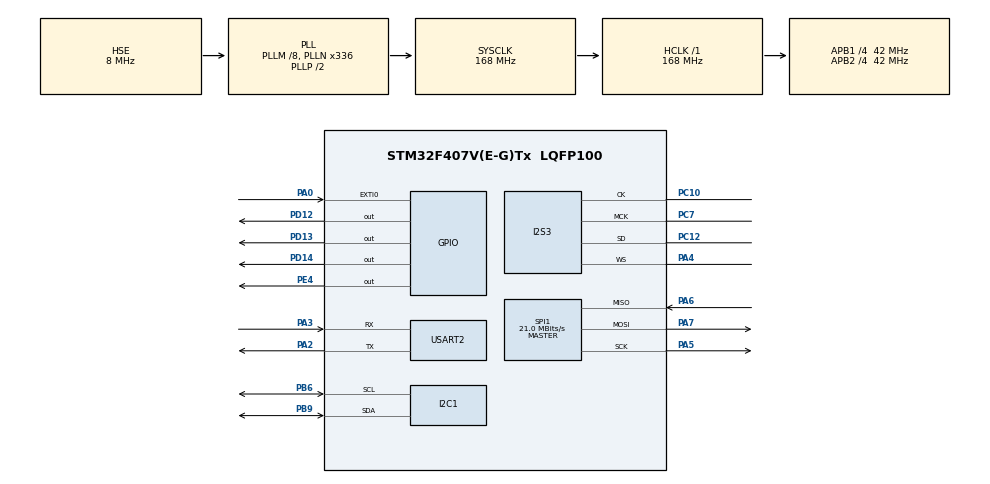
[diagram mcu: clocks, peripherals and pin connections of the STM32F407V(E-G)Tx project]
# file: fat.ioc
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Dma.Request0=SPI3_TX
Dma.SPI3_TX.0.Direction=DMA_MEMORY_TO_PERIPH
Dma.SPI3_TX.0.FIFOMode=DMA_FIFOMODE_ENABLE
Dma.SPI3_TX.0.FIFOThreshold=DMA_FIFO_THRESHOLD_FULL
Dma.SPI3_TX.0.Instance=DMA1_Stream5
Dma.SPI3_TX.0.MemBurst=DMA_MBURST_SINGLE
Dma.SPI3_TX.0.MemDataAlignment=DMA_MDATAALIGN_HALFWORD
Dma.SPI3_TX.0.MemInc=DMA_MINC_ENABLE
Dma.SPI3_TX.0.Mode=DMA_CIRCULAR
Dma.SPI3_TX.0.PeriphBurst=DMA_PBURST_SINGLE
Dma.SPI3_TX.0.PeriphDataAlignment=DMA_PDATAALIGN_HALFWORD
Dma.SPI3_TX.0.PeriphInc=DMA_PINC_DISABLE
Dma.SPI3_TX.0.Priority=DMA_PRIORITY_LOW
I2S3.AudioFreq=I2S_AUDIOFREQ_44K
I2S3.ErrorAudioFreq=0.24 %
I2S3.FullDuplexMode=I2S_FULLDUPLEXMODE_DISABLE
I2S3.Instance=SPI$Index
I2S3.RealAudioFreq=44.108 KHz
I2S3.VirtualMode=I2S_MODE_MASTER
Mcu.Family=STM32F4
Mcu.Name=STM32F407V(E-G)Tx
Mcu.Package=LQFP100
NVIC.DMA1_Stream5_IRQn=true\:0\:0\:false\:false\:true\:false\:true
NVIC.EXTI0_IRQn=true\:0\:0\:true\:false\:true\:true\:true
NVIC.PriorityGroup=NVIC_PRIORITYGROUP_4
NVIC.TIM6_DAC_IRQn=true\:0\:0\:true\:false\:true\:false\:true
NVIC.TimeBase=TIM6_DAC_IRQn
NVIC.TimeBaseIP=TIM6
PA0-WKUP.Signal=GPXTI0
PA2.Mode=Asynchronous
PA2.Signal=USART2_TX
PA3.Mode=Asynchronous
PA3.Signal=USART2_RX
PA4.Mode=Half_Duplex_Master
PA4.Signal=I2S3_WS
PA5.Mode=Full_Duplex_Master
PA5.Signal=SPI1_SCK
PA6.Mode=Full_Duplex_Master
PA6.Signal=SPI1_MISO
PA7.Mode=Full_Duplex_Master
PA7.Signal=SPI1_MOSI
PB6.Mode=I2C
PB6.Signal=I2C1_SCL
PB9.Mode=I2C
PB9.Signal=I2C1_SDA
PC10.Mode=Half_Duplex_Master
PC10.Signal=I2S3_CK
PC12.Mode=Half_Duplex_Master
PC12.Signal=I2S3_SD
PC7.Mode=Master_Clock_Activated
PC7.Signal=I2S3_MCK
PD12.Signal=GPIO_Output
PD13.Signal=GPIO_Output
PD14.Signal=GPIO_Output
PE4.Signal=GPIO_Output
PH0-OSC_IN.Mode=HSE-External-Oscillator
PH0-OSC_IN.Signal=RCC_OSC_IN
PH1-OSC_OUT.Mode=HSE-External-Oscillator
PH1-OSC_OUT.Signal=RCC_OSC_OUT
ProjectManager.HeapSize=0x200
ProjectManager.StackSize=0x400
ProjectManager.TargetToolchain=STM32CubeIDE
RCC.48MHZClocksFreq_Value=84000000
RCC.AHBFreq_Value=168000000
RCC.APB1CLKDivider=RCC_HCLK_DIV4
RCC.APB1Freq_Value=42000000
RCC.APB1TimFreq_Value=84000000
RCC.APB2CLKDivider=RCC_HCLK_DIV4
RCC.APB2Freq_Value=42000000
RCC.APB2TimFreq_Value=84000000
RCC.CortexFreq_Value=168000000
RCC.HCLKFreq_Value=168000000
RCC.HSE_VALUE=8000000
RCC.HSI_VALUE=16000000
RCC.LSE_VALUE=32768
RCC.PLLI2SN=271
RCC.PLLI2SR=6
RCC.PLLM=8
RCC.PLLN=336
RCC.PLLSourceVirtual=RCC_PLLSOURCE_HSE
RCC.SYSCLKFreq_VALUE=168000000
RCC.SYSCLKSource=RCC_SYSCLKSOURCE_PLLCLK
RCC.VCOOutputFreq_Value=336000000
SPI1.BaudRatePrescaler=SPI_BAUDRATEPRESCALER_2
SPI1.CalculateBaudRate=21.0 MBits/s
SPI1.Direction=SPI_DIRECTION_2LINES
SPI1.Mode=SPI_MODE_MASTER
SPI1.VirtualType=VM_MASTER
USART2.VirtualMode=VM_ASYNC
VP_SYS_VS_tim6.Mode=TIM6
board=custom

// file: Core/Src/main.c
/* USER CODE BEGIN Header */
/**
 ******************************************************************************
 * @file           : main.c
 * @brief          : Main program body
 ******************************************************************************
 * @attention
 *
 * <h2><center>&copy; Copyright (c) 2021 STMicroelectronics.
 * All rights reserved.</center></h2>
 *
 * This software component is licensed by ST under BSD 3-Clause license,
 * the "License"; You may not use this file except in compliance with the
 * License. You may obtain a copy of the License at:
 *                        opensource.org/licenses/BSD-3-Clause
 *
 ******************************************************************************
 */

#include "mmc_sd.h"
#include "fatfs.h"
#include "fops.h"

//#include "main.h"
#include "FreeRTOS.h"

#include "queue.h"
#include "semphr.h"
#include "task.h"
#include "printf.h"
#include "File_Handling.h"
#include "waveplayer.h"
/* USER CODE END Header */
#include "main.h"

/* USER CODE BEGIN Includes */
//#define RXBUFFERSIZE  256
//char RxBuffer[RXBUFFERSIZE];

/* USER CODE END Includes */

I2C_HandleTypeDef hi2c1;

I2S_HandleTypeDef hi2s3;
DMA_HandleTypeDef hdma_spi3_tx;

SPI_HandleTypeDef hspi1;

UART_HandleTypeDef huart2;

void SystemClock_Config(void);
static void MX_GPIO_Init(void);
static void MX_DMA_Init(void);
void MX_SPI1_Init(void);
static void MX_I2C1_Init(void);
static void MX_I2S3_Init(void);
static void MX_USART2_UART_Init(void);
/* USER CODE BEGIN PFP */
//extern ApplicationTypeDef Appli_state;
extern AUDIO_PLAYBACK_StateTypeDef AudioState;
SemaphoreHandle_t xSemaphore;
SemaphoreHandle_t xReadSemaphore;
SemaphoreHandle_t xWriteSemaphore;

uint8_t flag = pdTRUE;
uint8_t isFinished = 0;

/* USER CODE END PFP */

/* USER CODE BEGIN 0 */
//UART_HandleTypeDef UartHandle;
/* Private function prototypes -----------------------------------------------*/
void Task1(void *pvParameters);
void Task2(void *pvParameters);
void Task3(void *pvParameters);

void SD_RdWrTest(void) {
	int i = 0;
	static uint8_t bufr[SD_SECTOR_SIZE];
	static uint8_t bufw[SD_SECTOR_SIZE];

	for (i = 0; i < sizeof(bufw); i++) {
		bufr[i] = 0;
		bufw[i] = i % 0xFF;
	}

	SD_WriteDisk(bufw, 1, 1);
	SD_ReadDisk(bufr, 1, 1);
	printf("# SD Card Read & Write Test %s!\r\n",
			memcmp(bufr, bufw, sizeof(bufr)) == 0 ? "Successfully" : "Failed");
}
/* USER CODE END 0 */

int main(void)
{
  /* USER CODE BEGIN 1 */
	uint64_t CardSize = 0;
	//char data[80];
  /* USER CODE END 1 */

  /* MCU Configuration--------------------------------------------------------*/

  /* Reset of all peripherals, Initializes the Flash interface and the Systick. */
  HAL_Init();

  /* Configure the system clock */
  SystemClock_Config();

  /* Initialize all configured peripherals */
  MX_GPIO_Init();
  MX_DMA_Init();
  MX_SPI1_Init();
  MX_I2C1_Init();
  MX_I2S3_Init();
  MX_USART2_UART_Init();
  /* USER CODE BEGIN 2 */

	CardSize = SD_GetSectorCount();

	CardSize = CardSize * SD_SECTOR_SIZE / 1024 / 1024;
	char data[50];
	sprintf(data, "pvReturn\n\r");
	HAL_UART_Transmit(&huart2, (uint8_t *)data, strlen(data), 0xffff);
	printf("# SD Card Type:0x%02X\r\n", SD_Type);
	printf("# SD Card Size:%luMB\r\n", (uint32_t) CardSize);
	//HAL_UART_Transmit(&huart4, (uint8_t *)data, strlen(data), 0xffff);
	HAL_Delay(1000);

	printf(
			"\r\n\r\n####################### HAL Libary SD Card SPI FATFS Demo ################################\r\n");
	MX_FATFS_Init();
	exf_mount();
	exf_getfree();
	FATFS_RdWrTest();

	xTaskCreate(Task3, "task3", 500, NULL, 1, NULL);
	/* How to use semaphore_binary in Lab3... */
	xSemaphore = xSemaphoreCreateBinary();
	xReadSemaphore = xSemaphoreCreateBinary();
	xWriteSemaphore = xSemaphoreCreateBinary();
	//xTaskCreate(Task1, "task1", 500, NULL, 1, NULL);
	//xTaskCreate(Task2, "task2", 500, NULL, 1, NULL);

	vTaskStartScheduler();
  /* USER CODE END 2 */

  /* Infinite loop */
	while (1) {

	}
}

void SystemClock_Config(void)
{
  RCC_OscInitTypeDef RCC_OscInitStruct = {0};
  RCC_ClkInitTypeDef RCC_ClkInitStruct = {0};
  RCC_PeriphCLKInitTypeDef PeriphClkInitStruct = {0};

  /** Configure the main internal regulator output voltage
  */
  __HAL_RCC_PWR_CLK_ENABLE();
  __HAL_PWR_VOLTAGESCALING_CONFIG(PWR_REGULATOR_VOLTAGE_SCALE1);
  /** Initializes the RCC Oscillators according to the specified parameters
  * in the RCC_OscInitTypeDef structure.
  */
  RCC_OscInitStruct.OscillatorType = RCC_OSCILLATORTYPE_HSE;
  RCC_OscInitStruct.HSEState = RCC_HSE_ON;
  RCC_OscInitStruct.PLL.PLLState = RCC_PLL_ON;
  RCC_OscInitStruct.PLL.PLLSource = RCC_PLLSOURCE_HSE;
  RCC_OscInitStruct.PLL.PLLM = 8;
  RCC_OscInitStruct.PLL.PLLN = 336;
  RCC_OscInitStruct.PLL.PLLP = RCC_PLLP_DIV2;
  RCC_OscInitStruct.PLL.PLLQ = 4;
  if (HAL_RCC_OscConfig(&RCC_OscInitStruct) != HAL_OK)
  {
    Error_Handler();
  }
  /** Initializes the CPU, AHB and APB buses clocks
  */
  RCC_ClkInitStruct.ClockType = RCC_CLOCKTYPE_HCLK|RCC_CLOCKTYPE_SYSCLK
                              |RCC_CLOCKTYPE_PCLK1|RCC_CLOCKTYPE_PCLK2;
  RCC_ClkInitStruct.SYSCLKSource = RCC_SYSCLKSOURCE_PLLCLK;
  RCC_ClkInitStruct.AHBCLKDivider = RCC_SYSCLK_DIV1;
  RCC_ClkInitStruct.APB1CLKDivider = RCC_HCLK_DIV4;
  RCC_ClkInitStruct.APB2CLKDivider = RCC_HCLK_DIV4;

  if (HAL_RCC_ClockConfig(&RCC_ClkInitStruct, FLASH_LATENCY_5) != HAL_OK)
  {
    Error_Handler();
  }
  PeriphClkInitStruct.PeriphClockSelection = RCC_PERIPHCLK_I2S;
  PeriphClkInitStruct.PLLI2S.PLLI2SN = 271;
  PeriphClkInitStruct.PLLI2S.PLLI2SR = 6;
  if (HAL_RCCEx_PeriphCLKConfig(&PeriphClkInitStruct) != HAL_OK)
  {
    Error_Handler();
  }
}

static void MX_I2C1_Init(void)
{

  hi2c1.Instance = I2C1;
  hi2c1.Init.ClockSpeed = 100000;
  hi2c1.Init.DutyCycle = I2C_DUTYCYCLE_2;
  hi2c1.Init.OwnAddress1 = 0;
  hi2c1.Init.AddressingMode = I2C_ADDRESSINGMODE_7BIT;
  hi2c1.Init.DualAddressMode = I2C_DUALADDRESS_DISABLE;
  hi2c1.Init.OwnAddress2 = 0;
  hi2c1.Init.GeneralCallMode = I2C_GENERALCALL_DISABLE;
  hi2c1.Init.NoStretchMode = I2C_NOSTRETCH_DISABLE;
  if (HAL_I2C_Init(&hi2c1) != HAL_OK)
  {
    Error_Handler();
  }

}

static void MX_I2S3_Init(void)
{

  hi2s3.Instance = SPI3;
  hi2s3.Init.Mode = I2S_MODE_MASTER_TX;
  hi2s3.Init.Standard = I2S_STANDARD_PHILIPS;
  hi2s3.Init.DataFormat = I2S_DATAFORMAT_16B;
  hi2s3.Init.MCLKOutput = I2S_MCLKOUTPUT_ENABLE;
  hi2s3.Init.AudioFreq = I2S_AUDIOFREQ_44K;
  hi2s3.Init.CPOL = I2S_CPOL_LOW;
  hi2s3.Init.ClockSource = I2S_CLOCK_PLL;
  hi2s3.Init.FullDuplexMode = I2S_FULLDUPLEXMODE_DISABLE;
  if (HAL_I2S_Init(&hi2s3) != HAL_OK)
  {
    Error_Handler();
  }

}

void MX_SPI1_Init(void)
{

  /* SPI1 parameter configuration*/
  hspi1.Instance = SPI1;
  hspi1.Init.Mode = SPI_MODE_MASTER;
  hspi1.Init.Direction = SPI_DIRECTION_2LINES;
  hspi1.Init.DataSize = SPI_DATASIZE_8BIT;
  hspi1.Init.CLKPolarity = SPI_POLARITY_LOW;
  hspi1.Init.CLKPhase = SPI_PHASE_1EDGE;
  hspi1.Init.NSS = SPI_NSS_SOFT;
  hspi1.Init.BaudRatePrescaler = SPI_BAUDRATEPRESCALER_2;
  hspi1.Init.FirstBit = SPI_FIRSTBIT_MSB;
  hspi1.Init.TIMode = SPI_TIMODE_DISABLE;
  hspi1.Init.CRCCalculation = SPI_CRCCALCULATION_DISABLE;
  hspi1.Init.CRCPolynomial = 10;
  if (HAL_SPI_Init(&hspi1) != HAL_OK)
  {
    Error_Handler();
  }

}

static void MX_USART2_UART_Init(void)
{

  huart2.Instance = USART2;
  huart2.Init.BaudRate = 115200;
  huart2.Init.WordLength = UART_WORDLENGTH_8B;
  huart2.Init.StopBits = UART_STOPBITS_1;
  huart2.Init.Parity = UART_PARITY_NONE;
  huart2.Init.Mode = UART_MODE_TX_RX;
  huart2.Init.HwFlowCtl = UART_HWCONTROL_NONE;
  huart2.Init.OverSampling = UART_OVERSAMPLING_16;
  if (HAL_UART_Init(&huart2) != HAL_OK)
  {
    Error_Handler();
  }

}

static void MX_DMA_Init(void)
{

  /* DMA controller clock enable */
  __HAL_RCC_DMA1_CLK_ENABLE();

  /* DMA interrupt init */
  /* DMA1_Stream5_IRQn interrupt configuration */
  HAL_NVIC_SetPriority(DMA1_Stream5_IRQn, 0, 0);
  HAL_NVIC_EnableIRQ(DMA1_Stream5_IRQn);

}

static void MX_GPIO_Init(void)
{
  GPIO_InitTypeDef GPIO_InitStruct = {0};

  /* GPIO Ports Clock Enable */
  __HAL_RCC_GPIOE_CLK_ENABLE();
  __HAL_RCC_GPIOH_CLK_ENABLE();
  __HAL_RCC_GPIOA_CLK_ENABLE();
  __HAL_RCC_GPIOD_CLK_ENABLE();
  __HAL_RCC_GPIOC_CLK_ENABLE();
  __HAL_RCC_GPIOB_CLK_ENABLE();

  /*Configure GPIO pin Output Level */
  HAL_GPIO_WritePin(GPIOE, GPIO_PIN_4, GPIO_PIN_RESET);

  /*Configure GPIO pin Output Level */
  HAL_GPIO_WritePin(GPIOD, GPIO_PIN_12|GPIO_PIN_13|GPIO_PIN_14, GPIO_PIN_RESET);

  /*Configure GPIO pin : PE4 */
  GPIO_InitStruct.Pin = GPIO_PIN_4;
  GPIO_InitStruct.Mode = GPIO_MODE_OUTPUT_PP;
  GPIO_InitStruct.Pull = GPIO_NOPULL;
  GPIO_InitStruct.Speed = GPIO_SPEED_FREQ_LOW;
  HAL_GPIO_Init(GPIOE, &GPIO_InitStruct);

  /*Configure GPIO pin : PA0 */
  GPIO_InitStruct.Pin = GPIO_PIN_0;
  GPIO_InitStruct.Mode = GPIO_MODE_IT_RISING;
  GPIO_InitStruct.Pull = GPIO_NOPULL;
  HAL_GPIO_Init(GPIOA, &GPIO_InitStruct);

  /*Configure GPIO pins : PD12 PD13 PD14 */
  GPIO_InitStruct.Pin = GPIO_PIN_12|GPIO_PIN_13|GPIO_PIN_14;
  GPIO_InitStruct.Mode = GPIO_MODE_OUTPUT_PP;
  GPIO_InitStruct.Pull = GPIO_NOPULL;
  GPIO_InitStruct.Speed = GPIO_SPEED_FREQ_LOW;
  HAL_GPIO_Init(GPIOD, &GPIO_InitStruct);

  /* EXTI interrupt init*/
  HAL_NVIC_SetPriority(EXTI0_IRQn, 0, 0);
  HAL_NVIC_EnableIRQ(EXTI0_IRQn);

}

/* USER CODE BEGIN 4 */
//void Task1(void *pvParameters) {
//	uint8_t count=0;
//
//	for (;;) {
//		xSemaphoreTake( xWriteSemaphore, portMAX_DELAY);
//		FIL test;
//		if (f_open(&test, "test.txt", FA_WRITE) != 0) {
//			printf("open file err in task1\r\n");
//		} else {
//			printf("file open ok in task1\r\n");
//		}
//
//		char buff[13];
//		memset(buff, 0, 13);
//		if(count%2){
//			sprintf(buff, "%s", "DataWriteT");
//		}else{
//			sprintf(buff, "%s", "DataWriteF");
//		}
//		UINT byteswrite;
//		f_write(&test, buff, 12, &byteswrite);
//		f_close(&test);
//		count++;
//
//		vTaskDelay(1);
//		xSemaphoreGive( xReadSemaphore );
//	}
//
//
//}
//
//void Task2(void *pvParameters) {
//
//	while (1) {
//
//
//		FIL test_1;
//		if (f_open(&test_1, "test.txt", FA_READ) != 0) {
//			printf("open file err in task2\r\n");
//		} else {
//			printf("file open ok in task2\r\n");
//		}
//
//		char buff[11];
//		memset(buff, 0, 11);
//		UINT bytesread;
//		f_read(&test_1, buff, 11, &bytesread);
//
//		printf("data read is %s in task 2\r\n", buff);
//
//		f_close(&test_1);
//
//		vTaskDelay(1);
//		xSemaphoreGive( xWriteSemaphore );
//		xSemaphoreTake( xReadSemaphore , portMAX_DELAY );
//	}
//
//}

void Task3(void *pvParameters) {

	for (;;) {
		int isFinished = 0;
		AUDIO_PLAYER_Start(0);

		while(!isFinished){
			AUDIO_PLAYER_Process(pdTRUE);

			if(AudioState == AUDIO_STATE_STOP){
				isFinished = 1;
			}

		}
	}

}

void HAL_GPIO_EXTI_Callback(uint16_t GPIO_Pin) {

	if (GPIO_Pin == GPIO_PIN_0){

		AudioState = AUDIO_STATE_NEXT ;
	}

//	BaseType_t xHigherPriorityTaskWoken;
//	if (GPIO_Pin == GPIO_PIN_0) {
//		xHigherPriorityTaskWoken = pdFALSE;
//		if (flag == pdTRUE) {
//			xSemaphoreGiveFromISR(xSemaphore, &xHigherPriorityTaskWoken);
//		} else {
//			//do nothing
//		}
//
//		HAL_GPIO_TogglePin(GPIOD, GPIO_PIN_14);
//		uint8_t data_1 = 0x5f | 0x80;
//		HAL_GPIO_WritePin(GPIOE, GPIO_PIN_3, GPIO_PIN_RESET);
//		HAL_SPI_Transmit(&hspi1, &data_1, 1, 10);
//		////	HAL_Delay(10);
//		HAL_SPI_Receive(&hspi1, &data_1, 1, 10);
//		HAL_GPIO_WritePin(GPIOE, GPIO_PIN_3, GPIO_PIN_SET);
//		portYIELD_FROM_ISR(xHigherPriorityTaskWoken);
//	}

}
/* USER CODE END 4 */

 /**
  * @brief  Period elapsed callback in non blocking mode
  * @note   This function is called  when TIM6 interrupt took place, inside
  * HAL_TIM_IRQHandler(). It makes a direct call to HAL_IncTick() to increment
  * a global variable "uwTick" used as application time base.
  * @param  htim : TIM handle
  * @retval None
  */
void HAL_TIM_PeriodElapsedCallback(TIM_HandleTypeDef *htim)
{
  if (htim->Instance == TIM6) {
    HAL_IncTick();
  }
}

void Error_Handler(void)
{
	__disable_irq();
	while (1) {
	}
}

/************************ (C) COPYRIGHT STMicroelectronics *****END OF FILE****/
